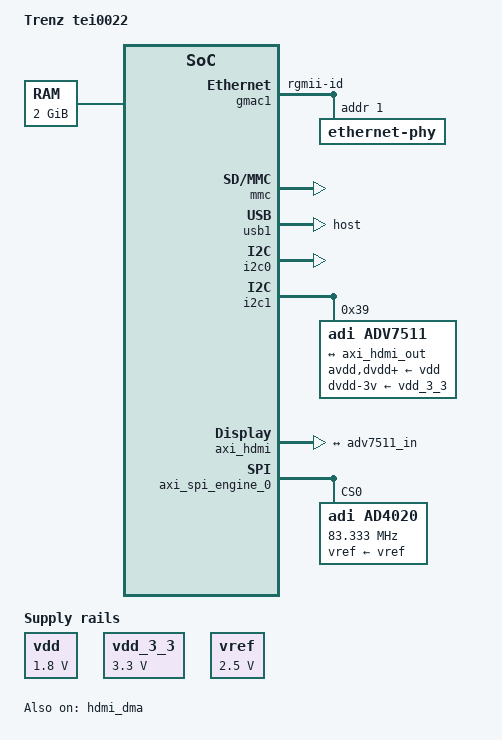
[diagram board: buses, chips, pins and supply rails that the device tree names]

#include "socfpga_cyclone5.dtsi"
#include "dt-bindings/interrupt-controller/irq.h"

/ {
	model = "Trenz tei0022";
	compatible = "altr,socfpga-cyclone5", "altr,socfpga";

	chosen {
		bootargs = "earlyprintk";
		stdout-path = "serial0:115200n8";
	};

	memory {
		name = "memory";
		device_type = "memory";
		reg = <0x0 0x80000000>;
	};

	aliases {
		ethernet0 = &gmac1;
	};

	dma_clk: dma_clk {
		#clock-cells = <0x0>;
		compatible = "fixed-clock";
		clock-frequency = <100000000>;
		clock-output-names = "dma_clock";
	};


        spi_engine_clk: spi_engine_clk {
                #clock-cells = <0x0>;
                compatible = "fixed-clock";
                clock-frequency = <166666666>;
                clock-output-names = "spi_engine_clock";
        };

	sys_clk: sys_clk {
		#clock-cells = <0x0>;
		compatible = "fixed-clock";
		clock-frequency = <80000000>;
		clock-output-names = "sys_clock";
	};

	hdmi_pll: hdmi_pll {
		compatible = "altr,altera_iopll-18.1";
		#clock-cells = <1>;
			hdmi_pll_outclk0: hdmi_pll_outclk0 {
			compatible = "fixed-clock";
			#clock-cells = <0>;
			clock-frequency = <148500000>;
			clock-output-names = "hdmi_pll-outclk0";
		}; 
	};

	/* add additional system clock device tree entries here */

        vdd: regulator-vdd {
                compatible = "regulator-fixed";
                regulator-name = "fixed-supply";
                regulator-min-microvolt = <1800000>;
                regulator-max-microvolt = <1800000>;
                regulator-always-on;
        };

        vdd_3_3: regulator-vdd {
                compatible = "regulator-fixed";
                regulator-name = "fixed-supply";
                regulator-min-microvolt = <3300000>;
                regulator-max-microvolt = <3300000>;
                regulator-always-on;
        };

        vref: regulator-vref {
                compatible = "regulator-fixed";
                regulator-name = "fixed-supply";
                regulator-min-microvolt = <2500000>;
                regulator-max-microvolt = <2500000>;
                regulator-always-on;
        };


	soc {
		clkmgr@ffd04000 {
			clocks {
				osc1 {
					clock-frequency = <25000000>;
				};
			};
		};

		gmac1: ethernet@ff702000 {

			#address-cells = <1>;
        		#size-cells = <0>;

			status = "okay";
			phy-mode = "rgmii-id";

       			ethernet-phy@1 {
				reg = <1>;
				adi,rx-internal-delay-ps = <2000>;
				adi,tx-internal-delay-ps = <2000>;
        		};

		};

		timer0: timer0@ffc08000 {
			clock-frequency = <100000000>;
		};

		timer1: timer1@ffc09000 {
			clock-frequency = <100000000>;
		};

		timer2: timer2@ffd00000 {
			clock-frequency = <25000000>;
		};

		timer3: timer3@ffd01000 {
			clock-frequency = <25000000>;
		};

		uart0: serial0@ffc02000 {
			clock-frequency = <100000000>;
		};

		uart1: serial1@ffc03000 {
			clock-frequency = <100000000>;
		};

		mmc: dwmmc0@ff704000 {
			status = "okay";
			supports-highspeed;
			altr,dw-mshc-ciu-div = <0x3>;
			altr,dw-mshc-sdr-timing = <0x0 0x3>;
			slot@0 {
				reg = <0x0>;
				bus-width = <0x4>;
			};
		};

		usb1: usb@ffb40000 {
			status = "okay";
			enable-dynamic-fifo = <1>;
			host-rx-fifo-size = <0xa00>;
			host-perio-tx-fifo-size = <0xa00>;
			host-nperio-tx-fifo-size = <0xa00>;
			dma-desc-enable = <0>;
			dr_mode = "host";
		};

		i2c0: i2c@ffc04000 {
			status = "okay";
			speed-mode = <0>;
			#address-cells = <1>;
			#size-cells = <0>;
		};

		i2c1: i2c@ffc05000 {
			status = "okay";
			speed-mode = <0>;
			#address-cells = <1>;
			#size-cells = <0>;

			/* adv7511 device tree entry. for additional information see /linux/Documentation/devicetree/bindings/display/bridge/adi,adv7511.txt */

			adv7511: adv7511@39 {
				compatible = "adi,adv7511";
				reg = <0x39>, <0x3f>;
				reg-names = "primary", "edid";

				adi,input-depth = <8>;
				adi,input-colorspace = "yuv422";
				adi,input-clock = "1x";
				adi,input-style = <1>;
				adi,input-justification = "right";
				adi,clock-delay = <(0)>;

				avdd-supply = <&vdd>;
				dvdd-supply = <&vdd>;
				pvdd-supply = <&vdd>;
				dvdd-3v-supply = <&vdd_3_3>;
				bgvdd-supply = <&vdd>;

				status = "okay";

				ports {
					#address-cells = <1>;
					#size-cells = <0>;

					port@0 {
						reg = <0>;
						adv7511_in: endpoint {
							remote-endpoint = <&axi_hdmi_out>;
						};
					}; 

					port@1 {
						reg = <1>;
						
					};

				}; 
			};
		};

		/* add additional hps peripheral device tree entries here */


		sys_hps_bridges: bridge@ff200000 {
			compatible = "simple-bus";
			reg = <0xff200000 0x00200000>;
			reg-names = "axi_h2f_lw";
			#address-cells = <2>;
			#size-cells = <1>;
			ranges = <0x00000001 0x00000000 0xff200000 0x00000040>,
				<0x00000001 0x00010000 0xff210000 0x00000008>,
				<0x00000001 0x00040000 0xff240000 0x00010000>,
				<0x00000001 0x00050000 0xff250000 0x00000800>,
				<0x00000001 0x00090000 0xff290000 0x00000800>,
				<0x00000001 0x000a0000 0xff2a0000 0x00010000>;


			sys_id: sys-id@100010010 {
				compatible = "altr,sysid-1.0";
				reg = <0x00000001 0x00010020 0x08>;
			};


			/* adi axi_dma device tree entry. for additional information see /linux/Documentation/devicetree/bindings/dma/adi,axi-dmac.txt */

			hdmi_dma: hdmi-dma@100090000 {
				compatible = "adi,axi-dmac-1.00.a";
				reg = <0x00000001 0x00090000 0x0800>;
				#dma-cells = <1>;
				interrupt-parent = <&intc>;
				interrupts = <0 44 4>;
				clocks = <&dma_clk 0>;
				status = "okay";

				adi,channels {
					#size-cells = <0>;
					#address-cells = <1>;

					dma-channel@0 {
						reg = <0>;
						adi,source-bus-width = <64>;
						adi,source-bus-type = <0>;
						adi,destination-bus-width = <64>;
						adi,destination-bus-type = <1>;
					};
				};
			};


			axi_hdmi: axi-hdmi@1000a0000 {
				compatible = "adi,axi-hdmi-tx-1.00.a";
				reg = <0x00000001 0x000a0000 0x10000>;
				dmas = <&hdmi_dma 0>;
				dma-names = "video";
				clocks = <&hdmi_pll 0>;
				status = "okay";

				port {
					axi_hdmi_out: endpoint {
						remote-endpoint = <&adv7511_in>;
					};
				};
			};

			/* adi axi_spi_engine device tree entry. for additional information see /linux/Documentation/devicetree/bindings/spi/adi,axi-spi-engine.txt */

			axi_spi_engine_0: axi-spi-engine@40000 {
				compatible = "adi,axi-spi-engine-1.00.a";
				reg = <0x00000001 0x00040000 0x00010000>;
				interrupt-parent = <&intc>;
				interrupts = <0 46 4>;
				clocks = <&spi_engine_clk>, <&spi_engine_clk>;
				clock-names = "s_axi_aclk", "spi_clk";
				num-cs = <1>;

				#address-cells = <0x1>;
				#size-cells = <0x0>;

				ad4020: adc@0 {
					compatible = "adi,ad4020";
					reg = <0>;
					spi-max-frequency = <83333333>;

					dmas = <&rx_dma 0>;
					dma-names = "rx";

					vref-supply = <&vref>;
					#io-channel-cells = <1>;
				};
			};

			rx_dma: rx-dmac@0 {
				compatible = "adi,axi-dmac-1.00.a";
				reg = <0x00000001 0x00050000 0x00000800>;
				interrupt-parent = <&intc>;
				interrupts = <0 45 4>;
				#dma-cells = <1>;
				clocks = <&dma_clk>;

				adi,channels {
					#size-cells = <0>;
					#address-cells = <1>;

					dma-channel@0 {
						reg = <0>;
						adi,source-bus-width = <32>;
						adi,source-bus-type = <1>;
						adi,destination-bus-width = <64>;
						adi,destination-bus-type = <0>;
					};
				};
			};


			/* add addiional FPGA peripheral device tree entries here */

		};
	};
};
